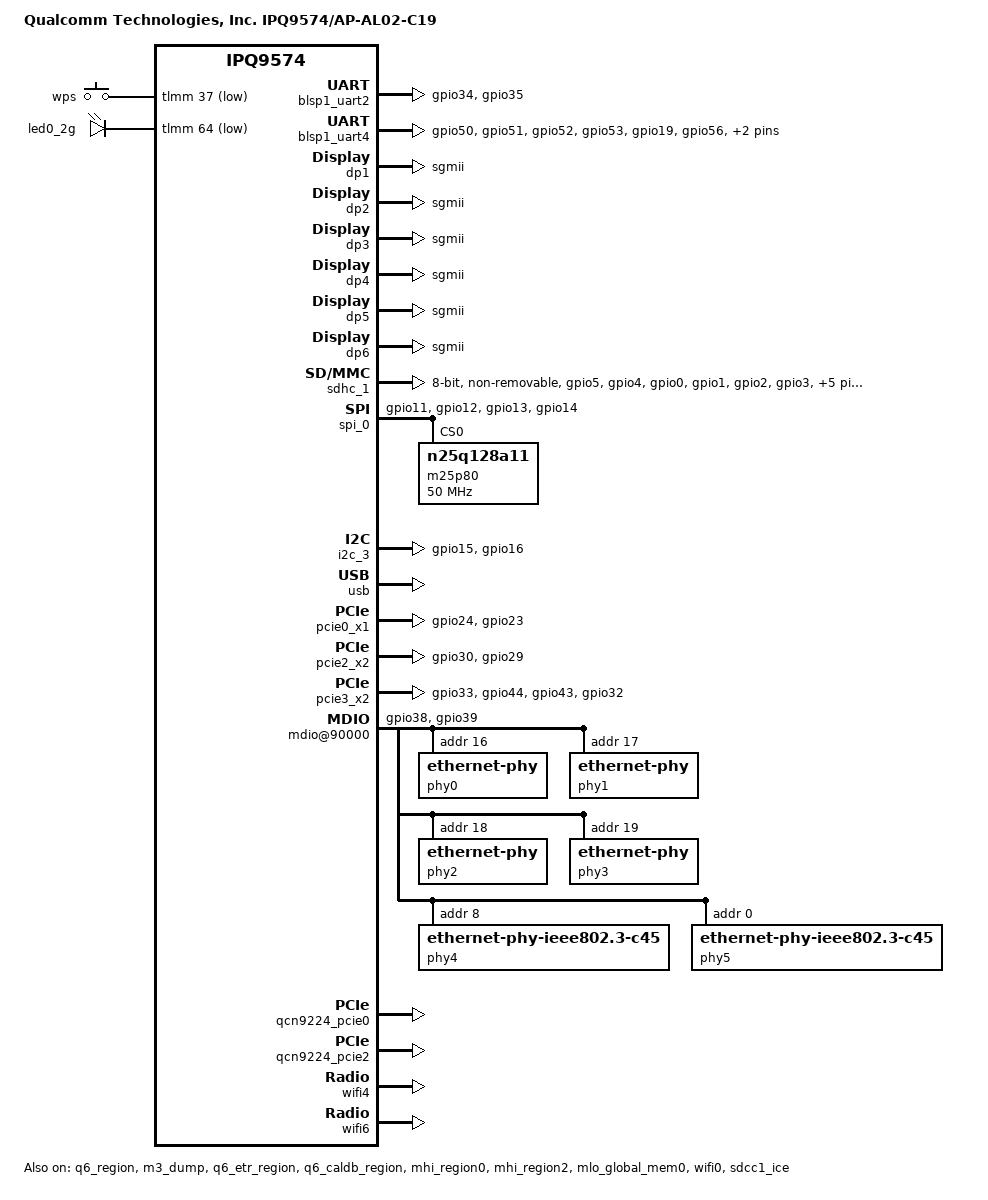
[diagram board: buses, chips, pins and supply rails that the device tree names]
// SPDX-License-Identifier: (GPL-2.0+ OR BSD-3-Clause)
/*
 * IPQ9574 AL02-C19 board device tree source
 *
 * Copyright (c) 2022-2023 Qualcomm Innovation Center, Inc. All rights reserved.
 */

/dts-v1/;

#include "ipq9574.dtsi"
#include "ipq9574-wkk-default-memory.dtsi"
#include "ipq9574-cpu.dtsi"

/ {
	#address-cells = <0x2>;
	#size-cells = <0x2>;
	model = "Qualcomm Technologies, Inc. IPQ9574/AP-AL02-C19";
	compatible = "qcom,ipq9574-ap-al02-c19", "qcom,ipq9574-al02", "qcom,ipq9574";
	interrupt-parent = <&intc>;

	aliases {
		serial0 = &blsp1_uart2;
		serial1 = &blsp1_uart4;
		serial2 = &blsp1_uart3;
		ethernet0 = "/soc/dp1";
		ethernet1 = "/soc/dp2";
		ethernet2 = "/soc/dp3";
		ethernet3 = "/soc/dp4";
		ethernet4 = "/soc/dp5";
		ethernet5 = "/soc/dp6";
	};

	chosen {
		stdout-path = "serial0";
	};

	soc {
		pinctrl@1000000 {
			pci0_pin: pci0-pinmux {
				pins = "gpio23";
				function = "gpio";
				drive-strength = <8>;
				bias-pull-up;
				output-low;
			};

			pci1_pin: pci1-pinmux {
				pins = "gpio26";
				function = "gpio";
				drive-strength = <8>;
				bias-pull-down;
				output-low;
			};

			pci2_pin: pci2-pinmux {
				pins = "gpio29";
				function = "gpio";
				drive-strength = <8>;
				bias-pull-down;
				output-low;
			};

			pci3_pin: pci3-pinmux {
				pins = "gpio32";
				function = "gpio";
				drive-strength = <8>;
				bias-pull-up;
				output-low;
			};

			pcie0_wake_pins: pcie0_wake_gpio {
				pins = "gpio24";
				function = "pcie0_wake";
				drive-strength = <8>;
				bias-pull-up;
			};

			pcie1_wake_pins: pcie1_wake_gpio {
				pins = "gpio27";
				function = "pcie1_wake";
				drive-strength = <8>;
				bias-pull-up;
			};

			pcie2_wake_pins: pcie2_wake_gpio {
				pins = "gpio30";
				function = "pcie2_wake";
				drive-strength = <8>;
				bias-pull-up;
			};

			pcie3_wake_pins: pcie3_wake_gpio {
				pins = "gpio33";
				function = "pcie3_wake";
				drive-strength = <8>;
				bias-pull-up;
			};

			blsp1_uart2_pins: blsp1_uart2_pinmux {
				pins = "gpio34", "gpio35";
				function = "blsp2_uart";
				drive-strength = <8>;
				bias-disable;
			};

			gps_pins: gps_pins {
				blsp3_uart_pinmux {
					pins = "gpio17", "gpio18";
					function = "blsp3_uart";
					drive-strength = <8>;
					bias-disable;
				};

				gps_on_off {
					pins = "gpio7";
					function = "gpio";
					drive-strength = <8>;
					bias-pull-down;
				 };
			 };

			leds_pins: leds_pinmux {
				led0_2g {
					pins = "gpio64";
					function = "gpio";
					drive-strength = <8>;
					bias-pull-up;
				};
			};

			emmc_pins: emmc_pins {
				emmc_clk {
					pins = "gpio5";
					function = "sdc_clk";
					drive-strength = <8>;
					bias-disable;
				};
				emmc_cmd {
					pins = "gpio4";
					function = "sdc_cmd";
					drive-strength = <8>;
					bias-pull-up;
				};
				emmc_data {
					pins = "gpio0", "gpio1", "gpio2",
						"gpio3", "gpio6", "gpio7",
						"gpio8", "gpio9";
					function = "sdc_data";
					drive-strength = <8>;
					bias-pull-up;
				};
				emmc_rclk {
					pins = "gpio10";
					function = "sdc_rclk";
					drive-strength = <8>;
					bias-pull-down;
				};
			};

			qspi_nand_pins: qspi_nand_pins {
				qspi_clock {
					pins = "gpio5";
					function = "qspi_clk";
					drive-strength = <8>;
					bias-disable;
				};

				qspi_cs {
					pins = "gpio4";
					function = "qspi_cs";
					drive-strength = <8>;
					bias-disable;
				};

				qspi_data {
					pins = "gpio0", "gpio1", "gpio2", "gpio3";
					function = "qspi_data";
					drive-strength = <8>;
					bias-disable;
				};
			};

			spi_0_pins: spi-0-pins {
				pins = "gpio11", "gpio12", "gpio13", "gpio14";
				function = "blsp0_spi";
				drive-strength = <8>;
				bias-disable;
			};

			i2c_3_pins: i2c-3-pins {
				pins = "gpio15", "gpio16";
				function = "blsp3_i2c";
				drive-strength = <8>;
				bias-disable;
			};

			mdio_pins: mdio_pinmux {
				mux_0 {
					pins = "gpio38";
					function = "mdc";
					drive-strength = <8>;
					bias-disable;
				};
				mux_1 {
					pins = "gpio39";
					function = "mdio";
					drive-strength = <8>;
					bias-pull-up;
				};
			};

			button_pins: button_pins {
				wps_button {
					pins = "gpio37";
					function = "gpio";
					drive-strength = <8>;
					bias-pull-up;
				};
			};

			QCC710_pins: QCC710_pins {
				blsp1_uart4_pinmux {
					pins = "gpio50", "gpio51", "gpio52", "gpio53";
					function = "blsp4_uart";
					drive-strength = <8>;
					bias-disable;
				};
				QCC710_reset {
					pins = "gpio19";
					function = "gpio";
					drive-strength = <8>;
					bias-pull-down;
				};
			};

			pta_QCC710: pta_QCC710 {
				pta1_0 {
					pins = "gpio56";
					function = "pta1_0";
					drive-strength = <8>;
					bias-disable;
				};
				pta1_1 {
					pins = "gpio54";
					function = "pta1_1";
					drive-strength = <8>;
					bias-disable;
				};
				pta1_2 {
					pins = "gpio55";
					function = "pta1_2";
					drive-strength = <8>;
					bias-disable;
				};
			};

			pcie3_sdx_pins: pcie3_sdx_pinmux {
				ap2mdm_err_ftl {
					pins = "gpio44";
					function = "gpio";
					drive-strength = <8>;
					bias-pull-down;
				};

				mdm2ap_e911_status {
					pins = "gpio43";
					drive-strength = <8>;
					bias-pull-down;
				};
			};
		};

		blsp1_uart2: serial@78b1000 {
			pinctrl-0 = <&blsp1_uart2_pins>;
			pinctrl-names = "default";
			status = "ok";
		};

		blsp1_uart3: serial@78b2000 {
			pinctrl-0 = <&gps_pins>;
			pinctrl-names = "default";
			status = "disabled";
		};

		blsp1_uart4: serial@78b3000 {
			pinctrl-0 = <&QCC710_pins &pta_QCC710>;
			pinctrl-names = "default";
			status = "ok";
		};

		gpio_keys {
			compatible = "gpio-keys";
			pinctrl-0 = <&button_pins>;
			pinctrl-names = "default";
			status = "ok";

			button@1 {
				label = "wps";
				linux,code = <KEY_WPS_BUTTON>;
				gpios = <&tlmm 37 GPIO_ACTIVE_LOW>;
				linux,input-type = <1>;
				debounce-interval = <60>;
			};
		};

		dp1 {
			device_type = "network";
			compatible = "qcom,nss-dp";
			qcom,id = <1>;
			reg = <0x3a001000 0x200>;
			qcom,mactype = <0>;
			qcom,link-poll = <1>;
			local-mac-address = [000000000000];
			qcom,phy-mdio-addr = <16>;
			phy-mode = "sgmii";
			qcom,ppe-offload-disabled = <1>;
		};

		dp2 {
			device_type = "network";
			compatible = "qcom,nss-dp";
			qcom,id = <2>;
			reg = <0x3a001200 0x200>;
			qcom,mactype = <0>;
			qcom,link-poll = <1>;
			local-mac-address = [000000000000];
			qcom,phy-mdio-addr = <17>;
			phy-mode = "sgmii";
			qcom,ppe-offload-disabled = <1>;
		};

		dp3 {
			device_type = "network";
			compatible = "qcom,nss-dp";
			qcom,id = <3>;
			reg = <0x3a001400 0x200>;
			qcom,mactype = <0>;
			qcom,link-poll = <1>;
			local-mac-address = [000000000000];
			qcom,phy-mdio-addr = <18>;
			phy-mode = "sgmii";
			qcom,ppe-offload-disabled = <1>;
		};

		dp4 {
			device_type = "network";
			compatible = "qcom,nss-dp";
			qcom,id = <4>;
			reg = <0x3a001600 0x200>;
			qcom,mactype = <0>;
			qcom,link-poll = <1>;
			local-mac-address = [000000000000];
			qcom,phy-mdio-addr = <19>;
			phy-mode = "sgmii";
			qcom,ppe-offload-disabled = <1>;
		};

		dp5 {
			device_type = "network";
			compatible = "qcom,nss-dp";
			qcom,id = <5>;
			reg = <0x3a510000 0x4000>;
			qcom,mactype = <1>;
			qcom,link-poll = <1>;
			local-mac-address = [000000000000];
			qcom,phy-mdio-addr = <8>;
			phy-mode = "sgmii";
		};

		dp6 {
			device_type = "network";
			compatible = "qcom,nss-dp";
			qcom,id = <6>;
			reg = <0x3a514000 0x4000>;
			qcom,mactype = <1>;
			qcom,link-poll = <1>;
			local-mac-address = [000000000000];
			qcom,phy-mdio-addr = <0>;
			phy-mode = "sgmii";
		};

		qpic_bam: dma@7984000 {
			status = "disabled";
		};

		sdcc1_ice: sdcc1ice@7808000 {
			compatible = "qcom,ice";
			reg = <0x7808000 0x2000>;
			interrupts = <GIC_SPI 313 IRQ_TYPE_LEVEL_HIGH>;
			qcom,msm-bus,vectors-KBps =
				<78 512 0 0>,    /* No vote */
				<78 512 1000 0>; /* Max. bandwidth */
			qcom,bus-vector-names = "MIN", "MAX";
			qcom,instance-type = "sdcc";
			status = "ok";
		};

		sdhc_1: sdhci@7804000 {
			compatible = "qcom,sdhci-msm-v5";
			reg = <0x7804000 0x1000>, <0x7805000 0x1000>;
			reg-names = "hc_mem", "cmdq_mem";

			interrupts = <GIC_SPI 123 IRQ_TYPE_LEVEL_HIGH>,
					<GIC_SPI 138 IRQ_TYPE_LEVEL_HIGH>;
			interrupt-names = "hc_irq", "pwr_irq";

			sdhc-msm-crypto = <&sdcc1_ice>;
			clocks = <&xo>,
				<&gcc GCC_SDCC1_AHB_CLK>,
				<&gcc GCC_SDCC1_APPS_CLK>,
				<&gcc GCC_SDCC1_ICE_CORE_CLK>;
			clock-names = "xo", "iface", "core", "ice_core_clk";
			qcom,ice-clk-rates = <150000000 300000000>;
			mmc-ddr-1_8v;
			mmc-hs200-1_8v;
			mmc-hs400-1_8v;
			mmc-hs400-enhanced-strobe;
			max-frequency = <384000000>;
			bus-width = <8>;
			non-removable;
			pinctrl-0 = <&emmc_pins>;
			pinctrl-names = "default";
			status = "ok";
		};

		qpic_nand: nand@79b0000 {
			status = "disabled";
			pinctrl-0 = <&qspi_nand_pins>;
			pinctrl-names = "default";

			nand@0 {
				reg = <0>;
				#address-cells = <1>;
				#size-cells = <1>;

				nand-ecc-strength = <4>;
				nand-ecc-step-size = <512>;
				nand-bus-width = <8>;
			};
		};

		spi_0: spi@78b5000 { /* BLSP1 QUP0 */
			status = "ok";
			pinctrl-0 = <&spi_0_pins>;
			pinctrl-names = "default";
			cs-select = <0>;

			m25p80@0 {
				compatible = "n25q128a11";
				#address-cells = <1>;
				#size-cells = <1>;
				reg = <0>;
				spi-max-frequency = <50000000>;
			};
		};

		eud: qcom,msm-eud {
			status = "ok";
		};

		i2c_3: i2c@78b8000 {
			status = "ok";
			pinctrl-0 = <&i2c_3_pins>;
			pinctrl-names = "default";
		};

		usb: usb3@8A00000 {
			status = "ok";
		};

		qusb_phy_0: qusb@7B000 {
			status = "ok";
		};

		ssphy_0: ssphy@7D000 {
			status = "ok";
		};

		leds {
			compatible = "gpio-leds";
			pinctrl-0 = <&leds_pins>;
			pinctrl-names = "default";
			led@64 {
				label = "led0_2g";
				gpios = <&tlmm 64 GPIO_ACTIVE_LOW>;
				linux,default-trigger = "led_2g";
				default-state = "off";
			};
		};

		pcie0_x1: pci@28000000 {
			pinctrl-0 = <&pcie0_wake_pins &pci0_pin>;
			pinctrl-names = "default";
			interrupts-extended = <&tlmm 24 IRQ_TYPE_LEVEL_HIGH>,
					      <&intc GIC_SPI 51 IRQ_TYPE_LEVEL_HIGH>;
			interrupt-names = "wake_gpio", "global_irq";
			perst-gpio = <&tlmm 23 1>;
			max-payload-size = <1>; // 1-256 TLP bytes for WKK
			status = "ok";
			pcie0_rp {
				reg = <0 0 0 0 0>;
				wifi@0 {
					reg = <0 0 0 0 0>;
					qrtr_instance_id = <0x30>;
					boot-args = <0x2 0x4 0x34 0x3 0x0 0x0     /* MX Rail, GPIO52, Drive strength 0x3 */
							0x4 0x4 0x18 0x3 0x0 0x0  /* RFA1p2 Rail, GPIO24, Drive strength 0x3 */
							0x0 0x4 0x0 0x0 0x0 0x0>; /* End of arguments */
					qti,disable-rddm-prealloc;
					qti,rddm-seg-len = <0x1000>;
					license-file = "";
#if defined(__CNSS2__)
					qrtr_node_id = <0x30>;
					memory-region = <0>,<&mhi_region0>;
#endif
				};
			};
		};

		pcie0_phy: phy@84000 {
			status = "ok";
		};

		pcie1_x1: pci@10000000 {
			pinctrl-0 = <&pci1_pin>;
			pinctrl-names = "default";
			perst-gpio = <&tlmm 26 1>;
			max-payload-size = <1>; // 1-256 TLP bytes for WKK
			status = "disabled";
			pcie1_rp {
				reg = <0 0 0 0 0>;

#if defined(__CNSS2__)
				qcom,mhi@1 {
					reg = <0 0 0 0 0>;
					qrtr_node_id = <0x31>;
					memory-region = <0>,<&mhi_region1>;
					boot-args = <0x2 0x4 0x34 0x3 0x0 0x0     /* MX Rail, GPIO52, Drive strength 0x3 */
							0x4 0x4 0x18 0x3 0x0 0x0  /* RFA1p2 Rail, GPIO24, Drive strength 0x3 */
							0x0 0x4 0x0 0x0 0x0 0x0>; /* End of arguments */
					license-file = "";
				};
#else
				wifi@1 {
					reg = <0 0 0 0 0>;

				       /* qcn9224 tgt-mem-mode=0 layout - 46MB
					* refer ipq9574-wkk-default-memory.dtsi
					* +=========+==============+=========+
					* |  Region | Start Offset |   Size  |
					* +---------+--------------+---------+
					* | HREMOTE |  0x52500000  |   36MB  |
					* +---------+--------------+---------+
					* | M3 Dump |  0x54900000  |   1MB   |
					* +---------+--------------+---------+
					* |   ETR   |  0x54A00000  |   1MB   |
					* +---------+--------------+---------+
					* |  Caldb  |  0x54B00000  |   8MB   |
					* +==================================+
					*/
					memory-region = <&qcn9224_pcie1>;
					qcom,board_id = <0x01>;

				};
#endif
			};
		};

		pcie1_phy: phy@fc000 {
			status = "disabled";
		};

		pcie2_x2: pci@20000000 {
			pinctrl-0 = <&pcie2_wake_pins &pci2_pin>;
			pinctrl-names = "default";
			interrupts-extended = <&tlmm 30 IRQ_TYPE_LEVEL_HIGH>,
					      <&intc GIC_SPI 125 IRQ_TYPE_LEVEL_HIGH>;
			interrupt-names = "wake_gpio", "global_irq";
			perst-gpio = <&tlmm 29 1>;
			max-payload-size = <1>; // 1-256 TLP bytes for WKK
			status = "ok";
			pcie2_rp {
				reg = <0 0 0 0 0>;
				wifi@2 {
					reg = <0 0 0 0 0>;
					qti,disable-rddm-prealloc;
					qti,rddm-seg-len = <0x1000>;
					boot-args = <0x2 0x4 0x34 0x3 0x0 0x0     /* MX Rail, GPIO52, Drive strength 0x3 */
							0x4 0x4 0x18 0x3 0x0 0x0  /* RFA1p2 Rail, GPIO24, Drive strength 0x3 */
							0x0 0x4 0x0 0x0 0x0 0x0>; /* End of arguments */
					license-file = "";
#if defined(__CNSS2__)
					qrtr_node_id = <0x32>;
					memory-region = <0>,<&mhi_region2>;
#else

					/* qcn9224 tgt-mem-mode=0 layout - 46MB
					* refer ipq9574-wkk-default-memory.dtsi
					* +=========+==============+=========+
					* |  Region | Start Offset |   Size  |
					* +---------+--------------+---------+
					* | HREMOTE |  0x4DD00000  |   36MB  |
					* +---------+--------------+---------+
					* | M3 Dump |  0x50100000  |   1MB   |
					* +---------+--------------+---------+
					* |   ETR   |  0x50200000  |   1MB   |
					* +---------+--------------+---------+
					* |  Caldb  |  0x50300000  |   8MB   |
					* +==================================+
					*/
					memory-region = <&qcn9224_pcie2>;
					qcom,board_id = <0x04>;
#endif
					status = "ok";
				};
			};
		};

		pcie2_phy: phy@8c000 {
			status = "ok";
		};

		pcie3_x2: pci@18000000 {
			perst-gpio = <&tlmm 32 1>;
			max-payload-size = <1>; // 1-256 TLP bytes for WKK
			status = "ok";
			pinctrl-0 = <&pcie3_wake_pins &pcie3_sdx_pins &pci3_pin>;
			pinctrl-names = "default";

			e911-gpio =  <&tlmm 43 GPIO_ACTIVE_HIGH>;

			interrupts-extended = <&tlmm 33 IRQ_TYPE_LEVEL_HIGH>,
					      <&tlmm 43 IRQ_TYPE_LEVEL_HIGH>,
					      <&intc GIC_SPI 188 IRQ_TYPE_LEVEL_HIGH>;
			interrupt-names = "wake_gpio", "mdm2ap_e911", "global_irq";
			slot_id = <2>;

			pcie3_rp {
				reg = <0 0 0 0 0>;
				#address-cells = <5>;
				#size-cells = <0>;

				status = "ok";
				aliases {
					mhi_netdev2 = &mhi_netdev_2;
				};

				mhi_0: qcom,mhi@0 {
					reg = <0 0 0 0 0 >;

					// controller specific configuration
					qcom,iommu-dma = "disabled";

					// mhi bus specific settings
					mhi,ssr-negotiate;

					mhi_devices: mhi_devices {
						#address-cells = <1>;
						#size-cells = <0>;

						mhi_netdev_0: mhi_rmnet@0 {
							reg = <0x0>;
							mhi,chan = "IP_HW0";
							mhi,interface-name = "rmnet_mhi";
							mhi,mru = <0x4000>;
							mhi,chain-skb;
						};

						mhi_rmnet@1 {
							reg = <0x1>;
							mhi,chan = "IP_HW0_RSC";
							mhi,mru = <0x8000>;
							mhi,rsc-parent = <&mhi_netdev_0>;
						};

						mhi_netdev_2: mhi_rmnet@2 {
							reg = <0x2>;
							mhi,chan = "IP_SW0";
							mhi,interface-name = "rmnet_mhi_sw";
							mhi,mru = <0x4000>;
							mhi,disable-chain-skb;
						};

						mhi_qrtr {
							mhi,chan = "IPCR";
							qom,net-id = <3>;
						};
					};
				};
			};
		};

		pcie3_phy: phy@f4000 {
			status = "ok";
		};

		qcom,test@0 {
			qcom,wlan-ramdump-dynamic = <0x600000>;
		};

		mdio@90000 {
			status = "ok";
			pinctrl-0 = <&mdio_pins>;
			pinctrl-names = "default";
			/*gpio60 for malibu reset, gpio36 for both aqr reset reserved */
			phy-reset-gpio = <&tlmm 60 0>;
			phy0: ethernet-phy@0 {
				reg = <16>;
			};
			phy1: ethernet-phy@1 {
				reg = <17>;
			};
			phy2: ethernet-phy@2 {
				reg = <18>;
			};
			phy3: ethernet-phy@3 {
				reg = <19>;
			};
			phy4: ethernet-phy@4 {
				compatible ="ethernet-phy-ieee802.3-c45";
				reg = <8>;
			};
			phy5: ethernet-phy@5 {
				compatible ="ethernet-phy-ieee802.3-c45";
				reg = <0>;
			};
		};

		ess-instance {
			num_devices = <0x1>;
			ess-switch@3a000000 {
				switch_cpu_bmp = <0x1>;  /* cpu port bitmap */
				switch_lan_bmp = <0x3e>; /* lan port bitmap */
				switch_wan_bmp = <0x40>; /* wan port bitmap */
				switch_mac_mode = <0x0>; /* mac mode for uniphy instance0*/
				switch_mac_mode1 = <0xd>; /* mac mode for uniphy instance1*/
				switch_mac_mode2 = <0xd>; /* mac mode for uniphy instance2*/
				bm_tick_mode = <0>; /* bm tick mode */
				tm_tick_mode = <0>; /* tm tick mode */

				qcom,port_phyinfo {
					port@0 {
						port_id = <1>;
						phy_address = <16>;
					};
					port@1 {
						port_id = <2>;
						phy_address = <17>;
					};
					port@2 {
						port_id = <3>;
						phy_address = <18>;
					};
					port@3 {
						port_id = <4>;
						phy_address = <19>;
					};
					port@4 {
						port_id = <5>;
						phy_address = <8>;
						ethernet-phy-ieee802.3-c45;
					};
					port@5 {
						port_id = <6>;
						phy_address = <0>;
						ethernet-phy-ieee802.3-c45;
					};
				};

			};
		};

		/* EDMA host driver configuration for the board */
		edma@3ab00000 {
			qcom,txdesc-ring-start = <4>;		/* Tx desc ring start ID */
			qcom,txdesc-rings = <28>;		/* Total number of Tx desc rings to be provisioned */
			qcom,txcmpl-ring-start = <4>;		/* Tx complete ring start ID */
			qcom,txcmpl-rings = <28>;		/* Total number of Tx complete rings to be provisioned */
			qcom,rxfill-ring-start = <4>;		/* Rx fill ring start ID */
			qcom,rxfill-rings = <4>;		/* Total number of Rx fill rings to be provisioned */
			qcom,rxdesc-ring-start = <20>;		/* Rx desc ring start ID */
			qcom,rxdesc-rings = <4>;		/* Total number of Rx desc rings to be provisioned */
			qcom,rx-page-mode = <0>;		/* Rx fill ring page mode */
			qcom,tx-map-priority-level = <1>;	/* Tx priority level per port */
			qcom,rx-map-priority-level = <1>;	/* Rx priority level per core */
			qcom,ppeds-num = <3>;			/* Number of PPEDS nodes */
			/* PPE-DS node format: <Rx-fill Tx-cmpl Rx Tx Queue-base Queue-count> */
			qcom,ppeds-map = <1 1 1 1 32 8>,	/* PPEDS Node#0 ring and queue map */
					<2 2 2 2 40 8>,		/* PPEDS Node#1 ring and queue map */
					<3 3 3 3 48 8>;		/* PPEDS Node#2 ring and queue map */
			qcom,txdesc-map = <8 9 10 11>,		/* Port0 per-core Tx ring map */
					<12 13 14 15>,		/* Port1 per-core Tx ring map */
					<16 17 18 19>,		/* Port2 per-core Tx ring map */
					<20 21 22 23>,		/* Port3 per-core Tx ring map */
					<24 25 26 27>,		/* Port4 per-core Tx ring map */
					<28 29 30 31>,		/* Port5 per-core Tx ring map */
					<4 5 6 7>;		/* Used only for VP" */
			qcom,txdesc-fc-grp-map = <1 2 3 4 5 6>;	/* Per GMAC flow control group map */
			qcom,rxfill-map = <4 5 6 7>;		/* Per-core Rx fill ring map */
			qcom,rxdesc-map = <20 21 22 23>;	/* Per-core Rx desc ring map */
			qcom,txdesc_point_offload_ring = <0>;		/* Txdesc point offlaod ring */
			qcom,txcmpl_point_offload_ring = <0>;		/* Txcmpl point offlaod ring */
			qcom,rxfill_point_offload_ring = <0>;		/* Rxfill point offlaod ring */
			qcom,rxdesc_point_offload_ring = <0>;		/* Rxdesc point offlaod ring */
			qcom,rx-queue-start = <0>;		/* Rx queue start */
			qcom,rx-ring-queue-map = <0 8 16 24>,	/* Priority 0 queues per-core Rx ring map */
					<1 9 17 25>,		/* Priority 1 queues per-core Rx ring map */
					<2 10 18 26>,		/* Priority 2 queues per-core Rx ring map */
					<3 11 19 27>,		/* Priority 3 queues per-core Rx ring map */
					<4 12 20 28>,		/* Priority 4 queues per-core Rx ring map */
					<5 13 21 29>,		/* Priority 5 queues per-core Rx ring map */
					<6 14 22 30>,		/* Priority 6 queues per-core Rx ring map */
					<7 15 23 31>;		/* Priority 7 queues per-core Rx ring map */
			qcom,vp-id = <8>;			/* Virtual port dummy MAC Id */
			interrupts = <0 367 4>,			/* Tx complete ring id #4 IRQ info */
				   <0 368 4>,			/* Tx complete ring id #5 IRQ info */
				   <0 369 4>,			/* Tx complete ring id #6 IRQ info */
				   <0 370 4>,			/* Tx complete ring id #7 IRQ info */
				   <0 371 4>,			/* Tx complete ring id #8 IRQ info */
				   <0 372 4>,			/* Tx complete ring id #9 IRQ info */
				   <0 373 4>,			/* Tx complete ring id #10 IRQ info */
				   <0 374 4>,			/* Tx complete ring id #11 IRQ info */
				   <0 375 4>,			/* Tx complete ring id #12 IRQ info */
				   <0 376 4>,			/* Tx complete ring id #13 IRQ info */
				   <0 377 4>,			/* Tx complete ring id #14 IRQ info */
				   <0 378 4>,			/* Tx complete ring id #15 IRQ info */
				   <0 379 4>,			/* Tx complete ring id #16 IRQ info */
				   <0 380 4>,			/* Tx complete ring id #17 IRQ info */
				   <0 381 4>,			/* Tx complete ring id #18 IRQ info */
				   <0 382 4>,			/* Tx complete ring id #19 IRQ info */
				   <0 383 4>,			/* Tx complete ring id #20 IRQ info */
				   <0 384 4>,			/* Tx complete ring id #21 IRQ info */
				   <0 509 4>,			/* Tx complete ring id #22 IRQ info */
				   <0 508 4>,			/* Tx complete ring id #23 IRQ info */
				   <0 507 4>,			/* Tx complete ring id #24 IRQ info */
				   <0 506 4>,			/* Tx complete ring id #25 IRQ info */
				   <0 505 4>,			/* Tx complete ring id #26 IRQ info */
				   <0 504 4>,			/* Tx complete ring id #27 IRQ info */
				   <0 503 4>,			/* Tx complete ring id #28 IRQ info */
				   <0 502 4>,			/* Tx complete ring id #29 IRQ info */
				   <0 501 4>,			/* Tx complete ring id #30 IRQ info */
				   <0 500 4>,			/* Tx complete ring id #31 IRQ info */
				   <0 351 4>,			/* Rx desc ring id #20 IRQ info */
				   <0 352 4>,			/* Rx desc ring id #21 IRQ info */
				   <0 353 4>,			/* Rx desc ring id #22 IRQ info */
				   <0 354 4>,			/* Rx desc ring id #23 IRQ info */
				   <0 499 4>,			/* Misc error IRQ info */
				   <0 364 4>,			/* PPEDS Node #1(TxComp ring id #1) TxComplete IRQ info */
				   <0 332 4>,			/* PPEDS Node #1(Rx Desc ring id #1) Rx Desc IRQ info */
				   <0 356 4>,			/* PPEDS Node #1(RxFill Desc ring id #1) Rx Fill IRQ info */
				   <0 365 4>,			/* PPEDS Node #2(TxComp ring id #2) TxComplete IRQ info */
				   <0 333 4>,			/* PPEDS Node #2(Rx Desc ring id #2) Rx Desc IRQ info */
				   <0 357 4>,			/* PPEDS Node #2(RxFill Desc ring id #2) Rx Fill IRQ info */
				   <0 366 4>,			/* PPEDS Node #3(TxComp ring id #3) TxComplete IRQ info */
				   <0 334 4>,			/* PPEDS Node #3(Rx Desc ring id #3) Rx Desc IRQ info */
				   <0 358 4>;			/* PPEDS Node #3(RxFill Desc ring id #3) Rx Fill IRQ info */

		};

	};
};

/* Enable IPQ9574 integrated radio's reserved memory */
&q6_region {
	status = "ok";
};

&m3_dump {
	status = "ok";
};

&q6_etr_region {
	status = "ok";
};

&q6_caldb_region {
	status = "ok";
};

/* Enable the reserved memory regions of QCN9224 on PCIe0, PCIe2 */
&qcn9224_pcie0 {
	status = "ok";
};

&mhi_region0 {
	status = "ok";
};

&qcn9224_pcie1 {
	status = "disabled";
};

&mhi_region1 {
	status = "disabled";
};

&qcn9224_pcie2 {
	status = "ok";
};

&mhi_region2 {
	status = "ok";
};

&qcn9224_pcie3 {
	status = "disabled";
};

&mhi_region3 {
	status = "disabled";
};

/* MLO GLOBAL MEM REGION size is 12MB for RDP with 2 QCN224 radios */
&mlo_global_mem0 {
	size = <0x0 0xD00000>;
	status = "ok";
};

&wifi0 {
	/* Enable IPQ9574 integratd 2G Radio */
	led-gpio = <&tlmm 64 1>;
	qcom,board_id = <0x20>;
	status = "ok";
};

&wifi4 {
	hremote_node = <&qcn9224_pcie0>;
	board_id = <0x02>;
	/delete-property/ interrupt-bmap;
	status = "ok";
};

&wifi5 {
	/* QCN9224 2G on PCI1 is disabled for AL02-C19 */
	hremote_node = <&qcn9224_pcie1>;
	board_id = <0x01>;
	status = "disabled";
};

&wifi6 {
	hremote_node = <&qcn9224_pcie2>;
	board_id = <0x04>;
	status = "ok";
};

&wifi7 {
	hremote_node = <&qcn9224_pcie3>;
	board_id = <0x02>;
	status = "disabled";
};
